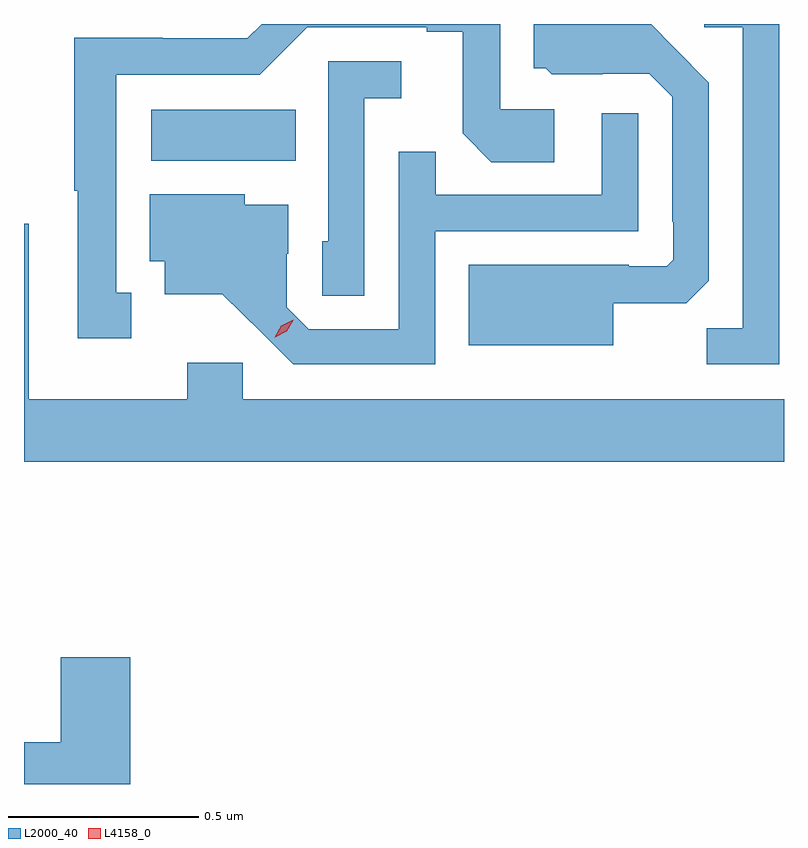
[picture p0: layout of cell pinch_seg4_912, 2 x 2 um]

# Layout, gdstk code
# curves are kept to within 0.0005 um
import gdstk
lib = gdstk.Library(unit=1e-6, precision=1e-09)
def R(c, l, rs):  # rectangles x0, y0, x1, y1
    for r in rs: c.add(gdstk.rectangle(r[:2], r[2:], *l))
def P(c, l, *ps):  # polygons
    for p in ps: c.add(gdstk.Polygon(p, *l))
L2000_40 = (2000, 40)
L4158_0 = (4158, 0)

pinch_seg4_912 = lib.new_cell('pinch_seg4_912')
R(pinch_seg4_912, L2000_40, [(733.89,826.916,734.27,827.05)])
P(pinch_seg4_912, L2000_40, [(735.106,826.541),(735.298,826.541),(735.357,826.6),(735.357,827.122),(735.205,827.276),(734.897,827.276),(734.897,827.16),(734.928,827.16),(734.944,827.144),(735.078,827.144),(735.078,827.145),(735.201,827.145),(735.261,827.085),(735.261,826.756),(735.264,826.756),(735.264,826.656),(735.246,826.638),(735.146,826.638),(735.146,826.642),(734.726,826.642),(734.726,826.43),(735.106,826.43)],
  [(733.837,826.569),(733.798,826.569),(733.798,827.142),(734.175,827.142),(734.301,827.268),(734.615,827.268),(734.615,827.256),(734.709,827.256),(734.709,826.988),(734.785,826.912),(734.95,826.912),(734.95,827.052),(734.808,827.052),(734.808,827.276),(734.18,827.276),(734.142,827.238),(733.92,827.238),(733.92,827.24),(733.687,827.24),(733.687,826.837),(733.697,826.837),(733.697,826.449),(733.837,826.449)],
  [(735.543,827.276),(735.345,827.276),(735.345,827.268),(735.447,827.268),(735.447,826.475),(735.352,826.475),(735.352,826.38),(735.543,826.38)],
  [(734.451,827.081),(734.548,827.081),(734.548,827.178),(734.355,827.178),(734.355,826.704),(734.34,826.704),(734.34,826.561),(734.451,826.561)],
  [(734.637,826.731),(735.171,826.731),(735.171,827.041),(735.075,827.041),(735.075,826.827),(734.639,826.827),(734.639,826.94),(734.541,826.94),(734.541,826.473),(734.304,826.473),(734.247,826.53),(734.247,826.672),(734.251,826.672),(734.251,826.801),(734.136,826.801),(734.136,826.828),(733.886,826.828),(733.886,826.652),(733.925,826.652),(733.925,826.565),(734.077,826.565),(734.264,826.38),(734.637,826.38)],
  [(735.555,826.288),(734.13,826.288),(734.13,826.384),(733.984,826.384),(733.984,826.288),(733.567,826.288),(733.567,826.75),(733.555,826.75),(733.555,826.124),(735.555,826.124)],
  [(733.835,825.61),(733.652,825.61),(733.652,825.386),(733.555,825.386),(733.555,825.276),(733.835,825.276)])
P(pinch_seg4_912, L4158_0, [(734.215,826.452),(734.215,826.452),(734.232,826.482),(734.263,826.498),(734.263,826.498),(734.263,826.497),(734.246,826.468),(734.216,826.452)])

lib.write_gds('pinch_seg4_912.gds')
